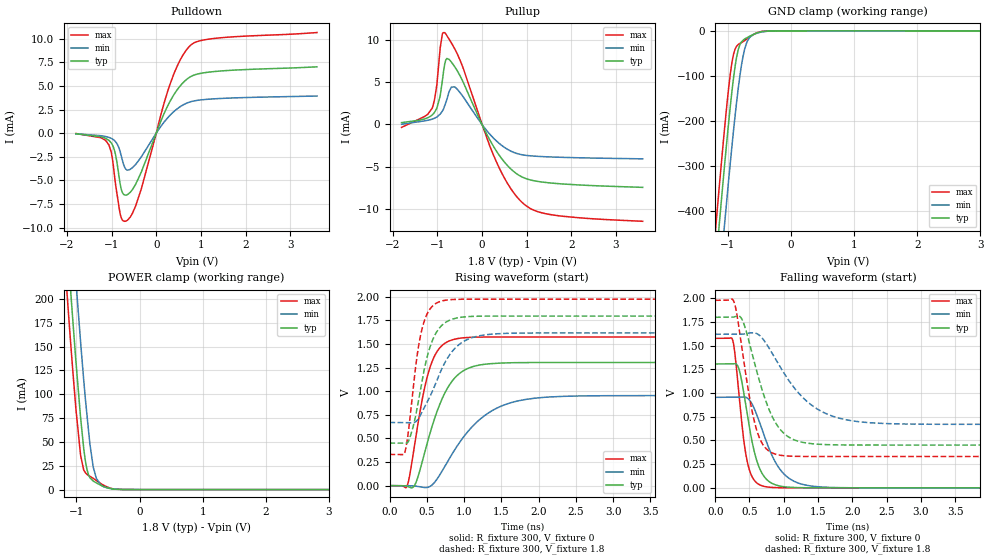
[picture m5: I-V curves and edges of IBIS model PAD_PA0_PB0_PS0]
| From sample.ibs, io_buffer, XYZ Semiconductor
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[Model]   PAD_PA0_PB0_PS0
Model_type I/O
Vinl  =  0.54
Vinh  =  1.26
Vmeas =  0.9
| Capacitance   typ   min   max
C_comp   1.4956e-12   1.4369e-12   1.5705e-12
| Variables   typ   min   max
[GND Clamp Reference]   0   0   0
[POWER Clamp Reference]   1.8   1.62   1.98
[Pulldown Reference]   0   0   0
[Pullup Reference]   1.8   1.62   1.98
[Temperature Range]   25   125   -40
[Voltage Range]   1.8   1.62   1.98
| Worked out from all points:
|   slope of the pulldown table from 0 to 0.27 V, typ, clamps not added: 89.5 ohm
|   slope of the pullup table from 0 to 0.27 V, typ, clamps not added: 100 ohm
|   GND clamp passes 1 mA (typ) near -0.41 V on its own axis
|   POWER clamp passes 1 mA (typ) near -0.45 V on its own axis
|   rising waveform, R_fixture 300, V_fixture 0: 20-80 % time 344ps typ, 581ps min, 232ps max; typ from 0 V to 1.3 V
|   rising waveform, R_fixture 300, V_fixture 1.8: 20-80 % time 225ps typ, 360ps min, 166ps max; typ from 0.451 V to 1.8 V
|   falling waveform, R_fixture 300, V_fixture 0: 20-80 % time 211ps typ, 340ps min, 146ps max; typ from 1.3 V to 0 V
|   falling waveform, R_fixture 300, V_fixture 1.8: 20-80 % time 355ps typ, 607ps min, 230ps max; typ from 1.8 V to 0.451 V
[GND Clamp]
| Voltage   I(typ)   I(min)   I(max)
-1.8V     -1.523A    -1.632A    -1.455A
-1.234V   -589.8mA   -717.8mA   -507.6mA
-1.135V   -428.7mA   -559.6mA   -344.9mA
-1.06V    -311.2mA   -442.8mA   -228.7mA
-984.8mV  -200.8mA   -329mA     -124.5mA
-934.9mV  -134.5mA   -256.7mA   -70.49mA
-860mV    -57.75mA   -157.4mA   -34.04mA
-810.1mV  -31.19mA   -101.1mA   -28.17mA
-760.2mV  -21.05mA   -57.46mA   -24.17mA
-685.3mV  -14.31mA   -21.45mA   -16.91mA
-335.8mV  -82.25uA   -264.7uA   -43.52uA
3.6V      0A         0A         0A
[POWER Clamp]
| Voltage   I(typ)   I(min)   I(max)
-1.8V     902.6mA    988.3mA    831.8mA
-1.16V    271.7mA    359mA      215.7mA
-1.135V   248.2mA    335.3mA    192.6mA
-1.085V   202mA      288.3mA    147.7mA
-1.01V    135.6mA    219.8mA    85.34mA
-934.9mV  75.72mA    155.1mA    36.13mA
-860mV    30.65mA    95.94mA    17.9mA
-785.1mV  12.28mA    46.91mA    13.83mA
-735.2mV  9.024mA    23.87mA    11.8mA
-685.3mV  6.999mA    11.84mA    9.53mA
-410.7mV  440.7uA    581uA      646.6uA
3.6V      0A         0A         0A
[Pullup]
| Voltage   I(typ)   I(min)   I(max)
-1.8V     215.7uA    24.33uA    -345.2uA
-1.11V    1.146mA    636.6uA    1.96mA
-1.01V    1.921mA    880uA      4.672mA
-934.9mV  3.375mA    1.22mA     9.046mA
-885mV    5.21mA     1.588mA    10.74mA
-835.1mV  7.106mA    2.199mA    10.86mA
-785.1mV  7.796mA    2.954mA    10.49mA
-610.4mV  6.826mA    4.44mA     8.943mA
313.3mV   -3.057mA   -1.893mA   -4.292mA
887.5mV   -6.177mA   -3.57mA    -9.149mA
1.562V    -6.925mA   -3.845mA   -10.67mA
3.6V      -7.432mA   -4.062mA   -11.44mA
[Pulldown]
| Voltage   I(typ)   I(min)   I(max)
-1.8V     -62.47uA   -70.83uA   -35.76uA
-1.06V    -760.3uA   -449.4uA   -1.25mA
-984.8mV  -1.213mA   -610.9uA   -2.616mA
-934.9mV  -1.832mA   -788.9uA   -4.524mA
-810.1mV  -5.34mA    -1.94mA    -8.513mA
-685.3mV  -6.567mA   -3.792mA   -9.328mA
-535.5mV  -5.992mA   -3.67mA    -8.519mA
-335.8mV  -4.134mA   -2.518mA   -5.923mA
338.3mV   3.622mA    2.037mA    5.575mA
737.7mV   5.896mA    3.282mA    9.174mA
1.337V    6.545mA    3.648mA    10.06mA
3.6V      7.027mA    3.935mA    10.66mA
[Ramp]
dV/dt_r   0.783168/0.34425n  0.572395/0.581229n  0.945426/0.232333n
dV/dt_f   0.807938/0.354659n  0.569438/0.607073n  0.987522/0.230147n
R_load = 300
[Rising Waveform]
R_fixture = 300
V_fixture = 0
V_fixture_min = 0
V_fixture_max = 0
| Time   V(typ)   V(min)   V(max)
0s        151nV      1.405uV    106.1nV
228.4ps   -4.032mV   -688.3uV   -14.87mV
336.8ps   3.577mV    -3.082mV   431.8mV
457.4ps   308.5mV    -20.25mV   986.7mV
571.2ps   628.8mV    7.725mV    1.315V
723.5ps   951.6mV    178.9mV    1.497V
886.4ps   1.151V     394.5mV    1.554V
1.364ns   1.293V     788.7mV    1.575V
2.004ns   1.305V     931.1mV    1.575V
8.333ns   1.305V     954mV      1.576V
[Rising Waveform]
R_fixture = 300
V_fixture = 1.8
V_fixture_min = 1.62
V_fixture_max = 1.98
| Time   V(typ)   V(min)   V(max)
0s        450.8mV    669.2mV    330.4mV
202.7ps   449.9mV    668.4mV    344.8mV
309.4ps   601.9mV    666.6mV    973.3mV
372ps     827.4mV    693.2mV    1.387V
436.8ps   1.112V     781.8mV    1.663V
557.4ps   1.501V     968.4mV    1.886V
708.1ps   1.703V     1.249V     1.958V
979.7ps   1.786V     1.521V     1.975V
1.441ns   1.797V     1.609V     1.975V
8.333ns   1.797V     1.618V     1.976V
[Falling Waveform]
R_fixture = 300
V_fixture = 0
V_fixture_min = 0
V_fixture_max = 0
| Time   V(typ)   V(min)   V(max)
0s        1.305V     953.9mV    1.576V
253.7ps   1.306V     954.6mV    1.56V
349.3ps   1.245V     955.6mV    969mV
411.2ps   1.027V     957.8mV    533.8mV
468.7ps   773.9mV    946.3mV    272.9mV
584.5ps   341.1mV    810.4mV    67.4mV
709.4ps   123.7mV    562.7mV    16.15mV
999.5ps   12.51mV    149mV      887.9uV
1.46ns    617.6uV    14.35mV    187.7uV
8.333ns   248.6nV    1.623uV    152.1nV
[Falling Waveform]
R_fixture = 300
V_fixture = 1.8
V_fixture_min = 1.62
V_fixture_max = 1.98
| Time   V(typ)   V(min)   V(max)
0s        1.797V     1.618V     1.976V
273.2ps   1.799V     1.619V     1.961V
401.1ps   1.76V      1.619V     1.415V
592.1ps   1.266V     1.629V     641mV
714.2ps   965.5mV    1.551V     436.8mV
892.9ps   670.8mV    1.342V     352.2mV
1.087ns   528.6mV    1.118V     334.2mV
1.385ns   467.1mV    883.1mV    330.6mV
2.042ns   451.3mV    701.9mV    330.5mV
8.333ns   450.8mV    669.2mV    330.4mV
